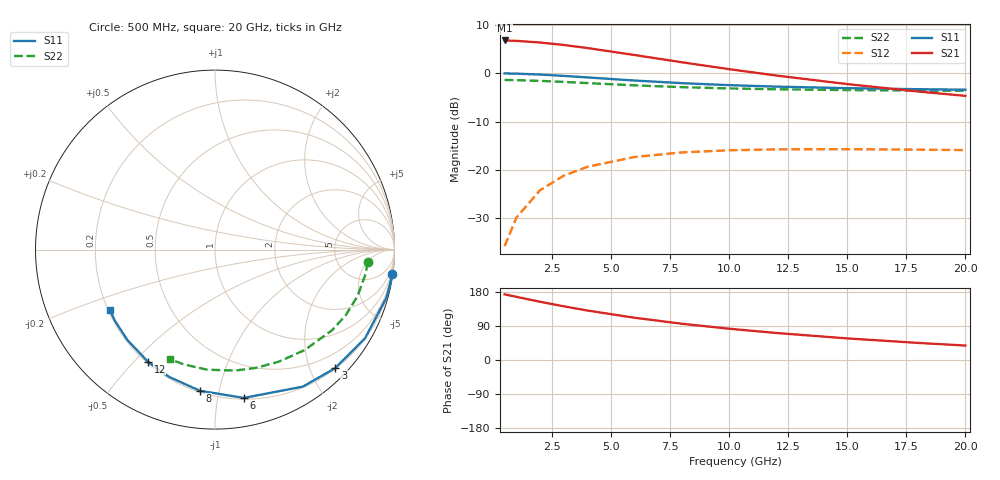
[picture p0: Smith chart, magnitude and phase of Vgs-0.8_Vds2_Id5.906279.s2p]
# Hz S RI R 50
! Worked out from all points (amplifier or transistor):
!   12 points, 500 MHz to 20 GHz, reference 50 ohm
!   highest |S21| = 6.8 dB at 500 MHz (marker M1)
!   |S21| within 3 dB of that: start of sweep to 5.971 GHz
!   unconditionally stable (mu >= 1): 14.53 GHz to end of sweep
!   at 2 GHz: K = 0.12, MSG = 15.3 dB, |S12| = -24.3 dB
!   at 8 GHz: K = 0.49, MSG = 9.4 dB, |S12| = -16.4 dB
!   at 20 GHz: K = 1.53, MAG = 1.3 dB, |S12| = -15.9 dB
!   S11 on the Smith chart (normalised r, x): 500 MHz: 0, -15; 3 GHz: 0.21, -2.43; 6 GHz: 0.21, -1.19; 8 GHz: 0.21, -0.88; 12 GHz: 0.21, -0.55; 20 GHz: 0.21, -0.25
5e8  0.9888 -0.1358  -2.178 0.2561  0.00155 0.016  0.8508 -0.0695
1e9  0.9559 -0.2662  -2.112 0.5013  0.00607 0.0313  0.8385 -0.1372
2e9  0.8361 -0.4937  -1.873 0.9232  0.0225 0.057  0.7931 -0.2618
3e9  0.6704 -0.66  -1.545 1.22  0.0448 0.0741  0.728 -0.366
4e9  0.4896 -0.7633  -1.192 1.389  0.0688 0.0822  0.6529 -0.4487
6e9  0.1607 -0.8265  -0.5669 1.441  0.1102 0.0788  0.4989 -0.5603
8e9  -0.085 -0.7863  -0.1295 1.296  0.1377 0.0623  0.3558 -0.6244
1e10  -0.2556 -0.7093  0.1437 1.095  0.1533 0.0427  0.2269 -0.6593
1.2e10  -0.3734 -0.6246  0.3047 0.8982  0.1608 0.0243  0.1103 -0.6741
1.5e10  -0.4879 -0.5041  0.421 0.6483  0.1633 0.00116  -0.0441 -0.6689
1.8e10  -0.5572 -0.3976  0.4573 0.4587  0.1607 -0.0164  -0.1752 -0.6393
2e10  -0.5877 -0.3341  0.4589 0.3605  0.1578 -0.0257  -0.2503 -0.61
